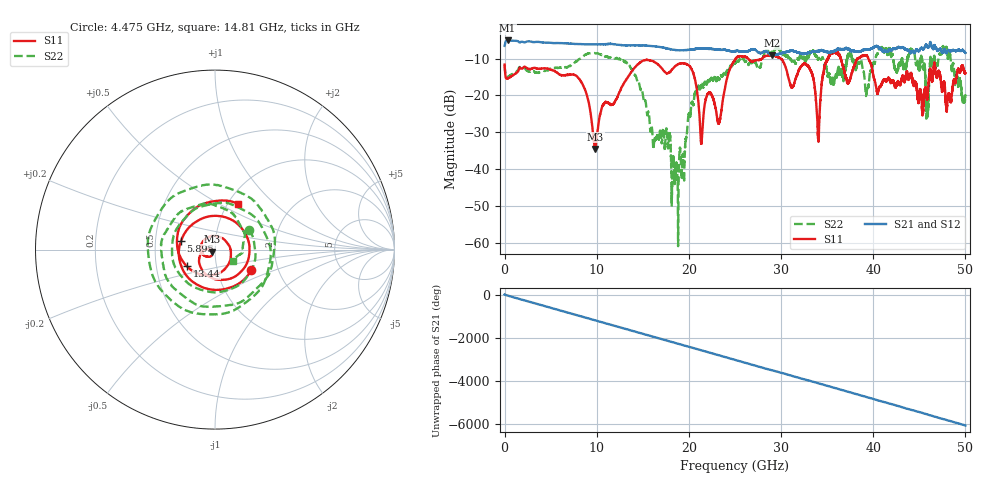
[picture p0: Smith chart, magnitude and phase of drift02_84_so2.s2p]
!Created with skrf (http://scikit-rf.org).
# Hz S RI R 50.0
!freq ReS11 ImS11 ReS21 ImS21 ReS12 ImS12 ReS22 ImS22
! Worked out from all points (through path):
!   10001 points, 300 kHz to 50 GHz, reference 50 ohm
!   highest |S21| = -5.03 dB at 325.3 MHz (marker M1); lowest = -9.0 dB at 29.01 GHz (marker M2)
!   group delay of S21, straight-line fit = 336 ps
!   lowest |S11| = -34.5 dB at 9.84 GHz (marker M3), VSWR 1.04, Z = 48.5 - j1.04 ohm
!   |S11| at or under -10 dB: start of sweep to 25.07 GHz; 29.97 GHz to 35.07 GHz (5.103 GHz wide, 15.7 % of centre); 39.48 GHz to end of sweep (the widest 3 of 7)
!   |S22| runs from -61.0 to -6.5 dB; largest |S21 - S12| = 0.022
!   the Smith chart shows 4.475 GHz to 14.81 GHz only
!   S11 on the Smith chart (normalised r, x): 4.475 GHz: 1.46, -0.35; 5.895 GHz: 0.68, +0.07; 13.44 GHz: 0.72, -0.14; 14.81 GHz: 1.12, +0.62
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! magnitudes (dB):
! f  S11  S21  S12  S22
! 300 kHz  -11.6  -6.5  -6.4  -11.6
! 325.3 MHz  -15.4  -5.0  -5.0  -15.0
! 4.475 GHz  -12.6  -5.6  -5.6  -13.2
! 5.895 GHz  -14.2  -5.7  -5.7  -12.4
! 8.335 GHz  -16.4  -6.0  -6.0  -9.6
! 9.84 GHz  -34.5  -6.1  -6.1  -8.5
! 13.44 GHz  -14.8  -6.4  -6.4  -11.6
! 14.81 GHz  -10.9  -6.4  -6.4  -18.5
! 16.67 GHz  -11.6  -6.7  -6.7  -31.4
! 18.67 GHz  -11.8  -7.7  -7.7  -39.2
! 20.38 GHz  -13.3  -7.5  -7.5  -21.6
! 21.37 GHz  -32.5  -7.2  -7.2  -16.9
! 23.31 GHz  -27.2  -7.6  -7.6  -15.6
! 25 GHz  -10.3  -7.9  -7.9  -11.2
! 29.01 GHz  -9.1  -9.0  -9.0  -8.2
! 33.34 GHz  -13.9  -8.1  -8.1  -8.0
! 34.02 GHz  -31.1  -7.9  -7.9  -10.1
! 35.54 GHz  -8.4  -8.1  -8.1  -15.3
! 41.67 GHz  -15.3  -7.7  -7.8  -7.5
! 45.87 GHz  -20.4  -6.8  -6.9  -22.8
! 47.76 GHz  -17.0  -7.5  -7.5  -7.6
! 50 GHz  -13.9  -8.4  -8.3  -20.1
